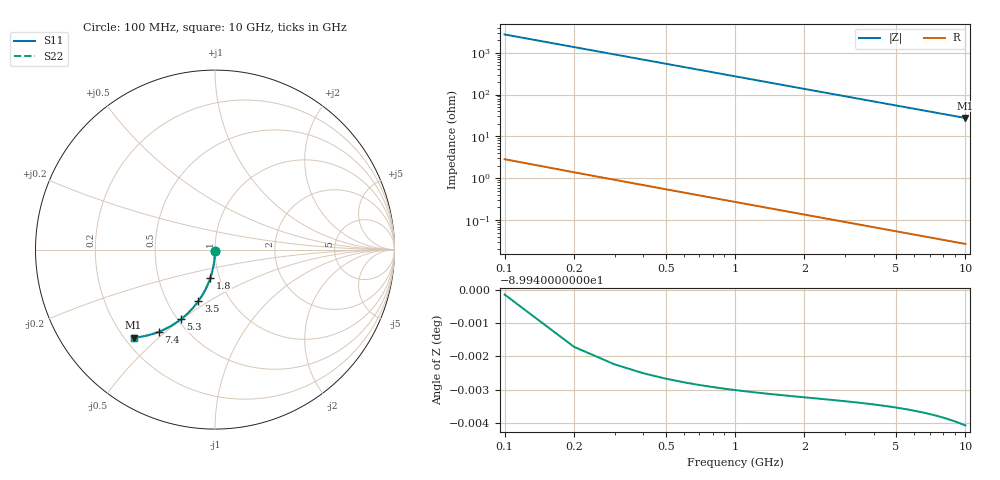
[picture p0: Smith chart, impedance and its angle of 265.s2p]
# Hz S RI R 50.00
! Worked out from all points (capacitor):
!   100 points, 100 MHz to 10 GHz, reference 50 ohm
!   read as one part in shunt: C = 583 fF near 100 MHz
!   lowest |Z| = 27.6 ohm at 10 GHz (marker M1)
!   S11 on the Smith chart (normalised r, x): 100 MHz: 1.00, -0.02; 1.8 GHz: 0.90, -0.29; 3.5 GHz: 0.71, -0.45; 5.3 GHz: 0.52, -0.50; 7.4 GHz: 0.36, -0.47; 10 GHz: 0.24, -0.42
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1e8  -7.48e-05 -0.00908  0.9999 -0.00922  0.9999 -0.00922  -7.48e-05 -0.00908
2e8  -0.000335 -0.0182  0.9996 -0.0184  0.9996 -0.0184  -0.000335 -0.0182
3e8  -0.000762 -0.0272  0.9992 -0.0276  0.9992 -0.0276  -0.000762 -0.0272
4e8  -0.00136 -0.0363  0.9986 -0.0368  0.9986 -0.0368  -0.00136 -0.0363
5e8  -0.00212 -0.0453  0.9978 -0.046  0.9978 -0.046  -0.00212 -0.0453
6e8  -0.00304 -0.0543  0.9969 -0.0551  0.9969 -0.0551  -0.00304 -0.0543
8e8  -0.00538 -0.0722  0.9946 -0.0733  0.9946 -0.0733  -0.00538 -0.0722
1.1e9  -0.0101 -0.0988  0.9899 -0.1004  0.9899 -0.1004  -0.0101 -0.0988
1.4e9  -0.0162 -0.125  0.9837 -0.1269  0.9837 -0.1269  -0.0162 -0.125
1.8e9  -0.0265 -0.159  0.9734 -0.1615  0.9734 -0.1615  -0.0265 -0.159
2.1e9  -0.0357 -0.1837  0.9642 -0.1866  0.9642 -0.1866  -0.0357 -0.1837
2.5e9  -0.0498 -0.2154  0.9501 -0.2189  0.9501 -0.2189  -0.0498 -0.2154
2.9e9  -0.0659 -0.2456  0.9341 -0.2496  0.9341 -0.2496  -0.0659 -0.2456
3.4e9  -0.0883 -0.2809  0.9117 -0.2856  0.9117 -0.2856  -0.0883 -0.2809
3.5e9  -0.093 -0.2876  0.9069 -0.2925  0.9069 -0.2925  -0.093 -0.2876
4.3e9  -0.1339 -0.3371  0.866 -0.3431  0.866 -0.3431  -0.1339 -0.3371
5.1e9  -0.1785 -0.3789  0.8214 -0.386  0.8214 -0.386  -0.1785 -0.3789
5.3e9  -0.19 -0.3881  0.8099 -0.3956  0.8099 -0.3956  -0.19 -0.3881
6.7e9  -0.2724 -0.44  0.7275 -0.4494  0.7275 -0.4494  -0.2724 -0.44
7.4e9  -0.3133 -0.4581  0.6866 -0.4686  0.6866 -0.4686  -0.3133 -0.4581
8.4e9  -0.3701 -0.4764  0.6298 -0.4883  0.6298 -0.4883  -0.3701 -0.4764
1e10  -0.454 -0.4903  0.5458 -0.5045  0.5458 -0.5045  -0.454 -0.4903
